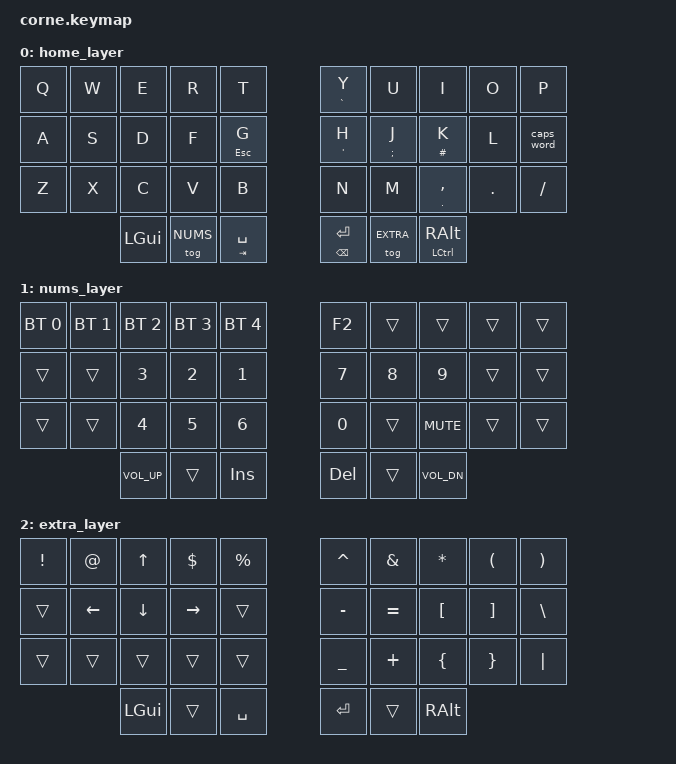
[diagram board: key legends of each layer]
/*
 * Copyright (c) 2020 The ZMK Contributors
 *
 * SPDX-License-Identifier: MIT
 */

#include <behaviors.dtsi>
#include <dt-bindings/zmk/keys.h>
#include <dt-bindings/zmk/bt.h>

// define layer names
// #define NAME:str LAYER:int
 
#define HOME  0
#define NUMS  1
#define EXTRA 2
//define key map
/ {
        keymap {
                compatible = "zmk,keymap";

                home_layer {
// -----------------------------------------------------------------------------------------
//  |  Q  |  W  |  E  |  R  |    T    |   |  Y    |  U   |  I   |      O     |  P   |
//  |  A  |  S  |  D  |  F  |  G&ESC  |   |  H&'  |  J&; |  K&# |      L     | CAPS |
//  |  Z  |  X  |  C  |  V  |    B    |   |  N    |  M   |  ,&. | CTRL&SHIFT |  /   |
//             | GUI | NUMS | SPC&TAB |   | BSPC&RET | EXTRA  | ALT&CTRL |
                        bindings = <
   	 &kp Q &kp W &kp E &kp R &kp T       &mt GRAVE Y  &kp U      &kp I         &kp O   &kp P    
   	 &kp A &kp S &kp D &kp F &mt ESC G   &mt SQT H    &mt SEMI J &mt HASH  K   &kp L   &caps_word  
  	 &kp Z &kp X &kp C &kp V &kp B       &kp N        &kp M      &mt DOT COMMA &kp DOT &kp FSLH 
  &kp LGUI &tog NUMS &mt TAB SPACE       &mt BSPC RET &tog EXTRA &mt LCTRL RALT 
                        >;
                };
				nums_layer {
// -----------------------------------------------------------------------------------------
// | BT1 | BT2 | BT3 | BT4 | BT5 |   | F2  |     |     |     |     |
// |     |     |  3  |  2  |  1  |   |  7  |  8  |  9  |     |     |
// |     |     |  4  |  5  |  6  |   |  0  |     | C_MUTE    |     |     |
//             | C_VOL_UP |   | INS |   | DEL |   | C_VOL_DN |
                        bindings = <
        &bt BT_SEL 0   &bt BT_SEL 1   &bt BT_SEL 2   &bt BT_SEL 3   &bt BT_SEL 4     &kp F2      &trans        &trans        &trans        &trans
        &trans         &trans         &kp N3         &kp N2         &kp N1           &kp N7      &kp N8        &kp N9        &trans        &trans
        &trans         &trans         &kp N4         &kp N5         &kp N6           &kp N0      &trans        &kp C_MUTE    &trans        &trans
        &kp C_VOL_UP   &trans         &kp INS                       &kp DEL     &trans        &kp C_VOL_DN
    >;
};

                extra_layer {
// -----------------------------------------------------------------------------------------
// |  !  |  @    | UP  |  $    |  %  |   |  ^  |  &  |  *  |  (  |  )  |
// |     | LEFT  | DWN | RIGHT |     |   |  -  |  =  |  [  |  ]  |  \  |
// |     |       |     |       |     |   |  _  |  +  |  {  |  }  | "|" |
//               | GUI |       | SPC |   | ENT |     | ALT |
                        bindings = <
    &kp EXCL &kp AT   &kp UP     &kp DLLR    &kp PRCNT   &kp CARET &kp AMPS  &kp ASTRK &kp LPAR &kp RPAR
    &trans   &kp LEFT &kp DOWN   &kp RIGHT   &trans      &kp MINUS &kp EQUAL &kp LBKT  &kp RBKT &kp BSLH
    &trans   &trans   &trans     &trans      &trans      &kp UNDER &kp PLUS  &kp LBRC  &kp RBRC &kp PIPE
                  &kp LGUI &trans   &kp SPACE   &kp RET   &trans    &kp RALT
                        >;
                };
        };
};
